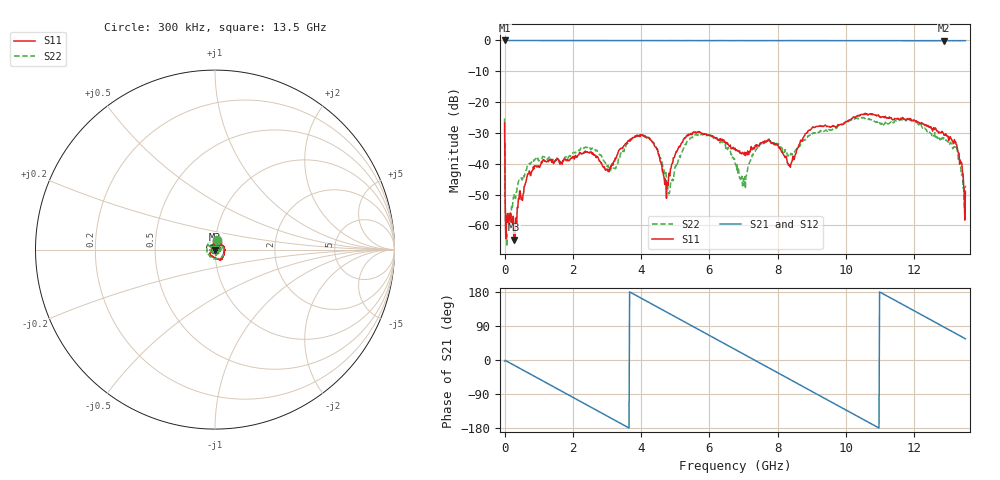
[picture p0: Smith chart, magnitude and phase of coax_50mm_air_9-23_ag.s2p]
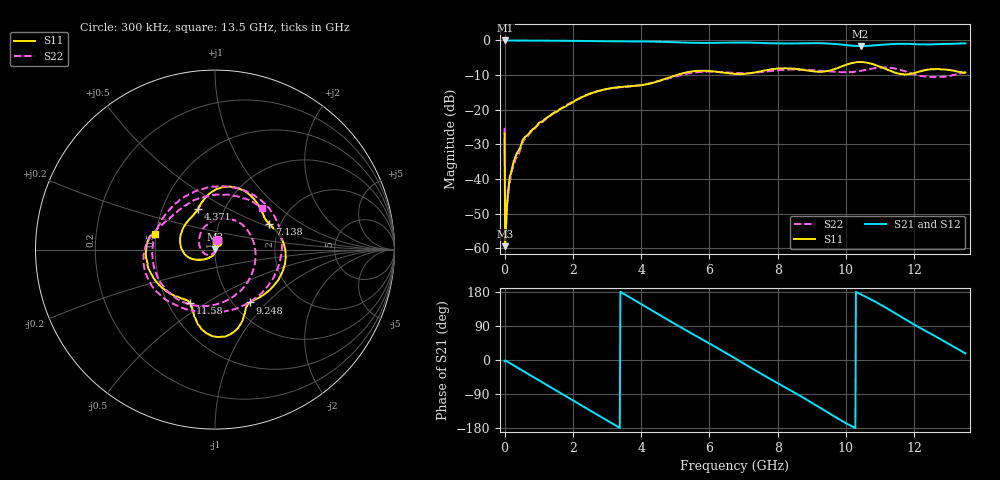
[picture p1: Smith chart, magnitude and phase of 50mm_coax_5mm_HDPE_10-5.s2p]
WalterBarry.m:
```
% code based on Walter Barry paper for stripline, is effective for coax
% airlines as well.
%{
close all
clc
clear
%}
eps0=8.85418782e-12; % F/m
mu0=1.2566370614e-6; % H/m
c0=1/sqrt(eps0*mu0);
eta0=sqrt(mu0/eps0); % free space
material_width = 5e-3;
device_length = 50e-3;
connector_length = 8.9e-3;
%connector_length = -8.5e-3;
l = (device_length - connector_length - material_width)/2;
t = material_width;
%%
airFile = 'coax_50mm_air_9-23_ag.s2p';
filelength = 809;
fftlength = 801;
[a11,a21,a12,a22,air_frequency] = s2pToComplexSParam(airFile,filelength);
%a11 = (a11 + a22)/2;
%a21 = (a21 + a12)/2;
materialFile = '50mm_coax_5mm_HDPE_10-5.s2p';
%[s11,s21,s12,s22,frequency] = s2pToComplexSParam_v2(materialFile,filelength);
[s11,s21,s12,s22,m_frequency] = s2pToComplexSParam(materialFile,filelength);
fudgeFactor = (unwrap(angle(s11)) - unwrap(angle(s22)))/2 - pi;
% @@@ if initially greater than pi/2 subtract by pi
s11 = s11.*exp(-1i*fudgeFactor);
s22 = s22.*exp(1i*fudgeFactor);
s21 = (s21 + s12)/2;
%%
%frequency dependent case
%%
%{
load(sprintf('%s\\Materials\\dd13490_data.mat',pwd))
permittivity = real_mittiv - 1i*imag_mittiv;
permeability = real_meab - 1i*imag_meab;
t_frequency = frequency*1e9;
[t11,t21] = generateSParamters2(permittivity,permeability,device_length,material_width,t_frequency);
%}
%static case
%
epsT = 2.4;
permittivity = epsT;
muT = 1;
permeability = muT;
t_frequency = m_frequency;
[t11,t21] = generateSParamters2(epsT,muT,device_length,material_width,t_frequency);
%}
%%
beta=2*pi*m_frequency/c0;
k0 = 2*pi*m_frequency/c0;
tk0 = 2*pi*t_frequency/c0;
%time gating
%{
time_air21=ifft(a21,8000);
time_med21=ifft(s21,8000);
[~,c1]=max(abs(time_air21));
time(:,1)=1:1:length(time_air21);
win_length = 25000;
t_win21=exp(-(time-c1).^2/win_length);
time_s21_filter=t_win21.*time_med21;
time_a21_filter= t_win21.*time_air21;
temp_s21=fft(time_s21_filter);
temp_a21=fft(time_a21_filter);
filtered_s21=temp_s21(1:fftlength);
filtered_a21=temp_a21(1:fftlength);
%}
%%
%{
time_air11=ifft(a11,8000);
time_med11=ifft(s11,8000);
[tt,c2]=max(abs(time_med11));
t_win11=exp(-(time-c2).^2/(win_length*2));
time_s11_filter=t_win11.*time_med11;
time_a11_filter=t_win11.*time_air11;
temp_s11=fft(time_s21_filter);
temp_a11=fft(time_a11_filter);
filtered_s11=temp_s11(1:fftlength);
filtered_a11=temp_a11(1:fftlength);
%}
%{
figure(5)
plot(t_win11*tt,'g--','linewidth',2)
legend('window')
hold on
plot(time,abs(time_air11),time,abs(time_med11))
legend('window','air','material')
xlim([(c1 - 1000) (c1 + 1000)])
title('S11 Time gating based on MUT')
xlabel('Time Position')
%}
%%
%calculating parameters for epsilon and mu
arg = (exp(-1i*4*k0*l) + s21.^2 - s11.^2)./(2*exp(-1i*2*k0*l).*s21);
kt = acos(arg);
%%
theoryKt = tk0.*sqrt(permittivity.*permeability).*t;
tArg = (exp(-1i*4*tk0*l) + t21.^2 - t11.^2)./(2*exp(-1i*2*tk0*l).*t21);
tTheta = atan2(imag(tArg + sqrt(tArg.^2 - 1)),real(tArg + sqrt(tArg.^2 - 1)));
tG = abs(tArg + sqrt(tArg.^2 - 1));
tKt = acos(tArg);
%
figure;
subplot(221)
yyaxis left
plot(m_frequency/1e9,unwrap(angle(s11)),t_frequency/1e9, unwrap(angle(t11)))
ylabel('Phase')
yyaxis right
plot(m_frequency/1e9,unwrap(angle(s11))./k0,t_frequency/1e9, unwrap(angle(t11))./k0)
%ylim([-0.1 -.05])
xlabel('Frequency')
ylabel('phase/k0')
legend('measured', 'theory','Location','northeast','Orientation','horizontal')
title('S11 Phase')
%xlim([1 10])
grid on
subplot(222)
yyaxis left
plot(m_frequency/1e9,unwrap(angle(s21)),t_frequency/1e9, unwrap(angle(t21)))
ylabel('Phase')
yyaxis right
plot(m_frequency/1e9,unwrap(angle(s21))./k0,t_frequency/1e9, unwrap(angle(t21))./k0)
%ylim([-0.07 -.05])
xlabel('Frequency')
ylabel('phase/k0')
xlabel('Frequency')
legend('measured', 'theory','Location','northeast','Orientation','horizontal')
title('S21 Phase')
%xlim([1 10])
grid on
subplot(223)
plot(m_frequency/1e9,abs(s11),t_frequency/1e9, abs(t11))
xlabel('Frequency')
ylabel('Magnitude')
legend('measured', 'theory','Location','northeast','Orientation','horizontal')
title('S11 Magnitude')
%xlim([1 10])
grid on
subplot(224)
plot(m_frequency/1e9,abs(s21),t_frequency/1e9, abs(t21))
xlabel('Frequency')
ylabel('Magnitude')
legend('measured', 'theory','Location','northeast','Orientation','horizontal')
title('S21 Magnitude')
%xlim([1 10])
grid on
%}

expanded_R = s11./(exp(-1i*2*k0*l) - s21.*exp(-1i*kt));
expanded_epsilon = kt./(t*k0).*(1 - expanded_R)./(1 + expanded_R);
expanded_mu = kt./(t*k0).*(1 + expanded_R)./(1 - expanded_R);

expanded_Rt = t11./(exp(-1i*2*tk0*l) - t21.*exp(-1i*tKt));
expanded_epsilont = tKt./(t*tk0).*(1 - expanded_Rt)./(1 + expanded_Rt);
expanded_mut = tKt./(t*tk0).*(1 + expanded_Rt)./(1 - expanded_Rt);

%%
%
figure;
subplot(221)
yyaxis left
plot(t_frequency/1e9, abs(theoryKt), m_frequency/1e9, abs(kt), t_frequency/1e9, abs(tKt))
ylabel('Magnitude')
yyaxis right
plot(t_frequency/1e9, angle(theoryKt), m_frequency/1e9, angle(kt), t_frequency/1e9, angle(tKt))
xlabel('frequency (GHz)')
ylabel('Phase')
legend('theory','experiment','theory derived')
title('Propagation Constant X material thickness (kt)')
grid on
subplot(222)
plot(m_frequency/1e9, abs(expanded_R), t_frequency/1e9, abs(expanded_Rt))
%ylim([0 10])
xlabel('frequency (GHz)')
ylabel('Magnitude')
legend('experiment','theory derived')
title('Reflection Coefficient')
%ylim([0 5])
grid on
subplot(223)
plot(m_frequency/1e9, real(expanded_epsilon), m_frequency/1e9, imag(expanded_epsilon)...
    , t_frequency/1e9, real(expanded_epsilont), t_frequency/1e9, imag(expanded_epsilont))
xlabel('frequency (GHz)')
ylabel('Magnitude')
legend('\epsilon\prime', '\epsilon\prime\prime','theory \epsilon\prime',...
    'theory \epsilon\prime\prime')
title('Permittivity')
ylim([-5 20])
grid on
subplot(224)
plot(m_frequency/1e9, real(expanded_mu), m_frequency/1e9, imag(expanded_mu),...
    t_frequency/1e9, real(expanded_mut), t_frequency/1e9, imag(expanded_mut))
xlabel('frequency (GHz)')
ylabel('Magnitude')
ylim([-5 10])
legend('\mu\prime', '\mu\prime\prime','theory \mu\prime', 'theory \mu\prime\prime')
title('Permeability')
grid on
%}
```
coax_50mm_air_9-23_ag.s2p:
!Agilent Technologies,N5230C,MY48100320,A.08.04.10
!Agilent N5230C: A.08.04.10
!Date: Friday, September 23, 2016 16:38:28
!Correction: S11(Full 2 Port(1,2))
!S21(Full 2 Port(1,2))
!S12(Full 2 Port(1,2))
!S22(Full 2 Port(1,2))
!S2P File: Measurements: S11, S21, S12, S22:
# Hz S  dB  R 50
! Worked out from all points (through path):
!   801 points, 300 kHz to 13.5 GHz, reference 50 ohm
!   highest |S21| = 0.01 dB at 17.17 MHz (marker M1); lowest = -0.1 dB at 12.86 GHz (marker M2)
!   group delay of S21, straight-line fit = 137 ps
!   lowest |S11| = -64.6 dB at 270.3 MHz (marker M3), VSWR 1.00, Z = 50 + j0.0523 ohm
!   |S11| at or under -10 dB: start of sweep to end of sweep
!   |S22| runs from -66.8 to -24.9 dB; largest |S21 - S12| = 0.0055
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300000  -26.89 78.2  -0.07 -2.8  -0.07 -2.8  -25.35 77.0
1.717462e7  -53.17 121.2  0.01 -1.0  0.00 -1.0  -51.78 92.8
2.70294e8  -64.63 63.0  -0.01 -13.4  -0.01 -13.4  -50.73 26.4
1.907133e9  -38.91 -23.8  -0.03 -93.9  -0.03 -93.9  -37.42 32.2
3.628344e9  -32.46 38.5  -0.03 -178.6  -0.05 -178.6  -32.97 149.1
5.282058e9  -31.76 109.9  -0.04 100.1  -0.05 100.1  -33.83 -79.1
6.75015e9  -34.94 -78.4  -0.04 27.9  -0.05 27.9  -39.75 -69.8
9.264469e9  -27.76 -136.3  -0.05 -95.8  -0.06 -95.8  -29.34 135.4
1.10363e10  -24.84 -41.8  -0.07 177.2  -0.08 177.2  -27.20 -141.1
1.285876e10  -30.17 73.1  -0.09 87.6  -0.06 87.7  -31.95 -81.0
1.35e10  -49.18 -101.9  -0.07 56.0  -0.06 56.1  -47.10 80.2
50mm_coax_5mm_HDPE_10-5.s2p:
!Agilent Technologies,N5230C,MY48100320,A.08.04.10
!Agilent N5230C: A.08.04.10
!Date: Wednesday, October 05, 2016 23:45:23
!Correction: S11(Full 2 Port(1,2))
!S21(Full 2 Port(1,2))
!S12(Full 2 Port(1,2))
!S22(Full 2 Port(1,2))
!S2P File: Measurements: S11, S21, S12, S22:
# Hz S  dB  R 50
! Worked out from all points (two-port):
!   801 points, 300 kHz to 13.5 GHz, reference 50 ohm
!   highest |S21| = 0.01 dB at 17.17 MHz (marker M1); lowest = -1.6 dB at 10.43 GHz (marker M2)
!   |S21| within 3 dB of the highest: start of sweep to end of sweep
!   lowest |S11| = -59.4 dB at 17.17 MHz (marker M3), VSWR 1.00, Z = 49.9 + j0.0697 ohm
!   |S11| at or under -10 dB: start of sweep to 5.037 GHz
!   |S22| runs from -56.9 to -7.8 dB; largest |S21 - S12| = 0.0046
!   S11 on the Smith chart (normalised r, x): 300 kHz: 1.01, +0.09; 4.371 GHz: 0.75, +0.37; 7.138 GHz: 1.75, +0.56; 9.248 GHz: 1.19, -0.80; 11.58 GHz: 0.64, -0.43; 13.5 GHz: 0.49, +0.10
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300000  -26.82 78.7  -0.07 -2.9  -0.07 -2.8  -25.25 77.2
1.717462e7  -59.41 139.3  0.01 -1.1  0.00 -1.1  -56.94 84.1
1.890258e9  -18.40 -152.4  -0.09 -100.7  -0.10 -100.7  -18.19 129.9
3.17273e9  -13.72 158.6  -0.24 -168.5  -0.24 -168.5  -13.74 43.4
4.370828e9  -12.16 112.4  -0.34 127.9  -0.34 127.9  -12.12 -37.1
6.75015e9  -9.66 34.0  -0.60 4.4  -0.61 4.4  -9.37 154.5
7.138266e9  -9.53 25.3  -0.62 -16.4  -0.62 -16.4  -9.41 123.3
9.247594e9  -9.04 -56.4  -0.79 -126.2  -0.79 -126.3  -8.74 -14.3
1.042882e10  -6.24 -86.5  -1.61 173.6  -1.60 173.5  -8.78 -111.4
1.157629e10  -9.61 -115.0  -0.96 116.0  -0.96 115.9  -8.46 173.2
1.35e10  -9.29 165.3  -0.83 17.2  -0.83 17.2  -9.09 41.9
